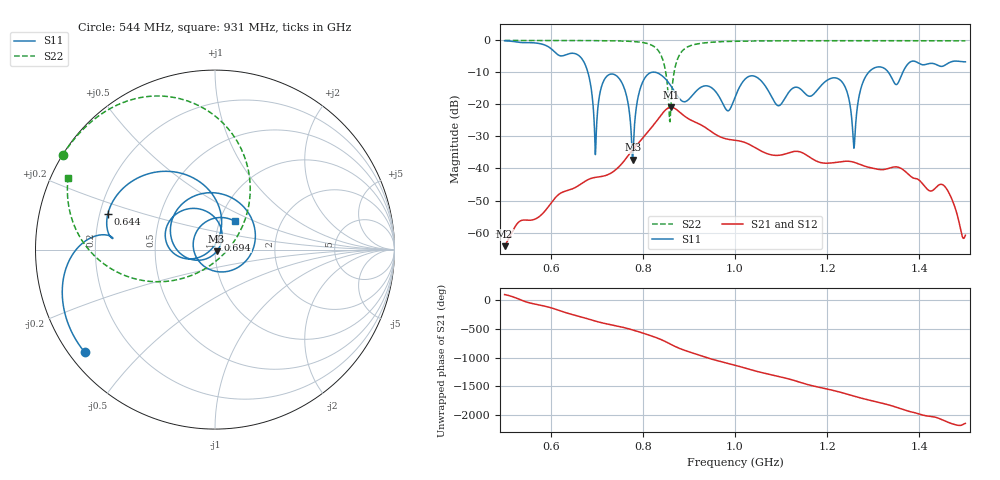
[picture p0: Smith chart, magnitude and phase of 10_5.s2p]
! TOUCHSTONE file generated by CST MICROWAVE STUDIO
! Date and time: Mon Nov 30 08:39:03 2020
! Project name: Scenario_1_Planar_Body_Tissue_Out_of_Line.cst
! Parameters = {dy1=-190.3; L_HA=400; Ltissue=700; MT=2.54; Rad_Dielectric=30; Rad_Lower=7.3; Rad_Upper=30; Wtissue=700; a_HA=580; a_WG=246; b_HA=500; b_WG=121; c_HA=0; c_WG=187; d_feed=85; dx1=866; h_feed=15; h_lower=18; h_upper=40; hfat=3; hgap=25; hmuscle=50; hskin=1.5}
! Header version: 2018
! Port assignment regex: !\s*Touchstone port\s*([0-9]+)\s*=\s*(CST MWS port|CST DS port)\s*([0-9]+|Zmin|Zmax)\s*\(\"(.*)\"\)(\s*mode\s*([0-9]+))?.*
! Touchstone port assignment:
! Touchstone port 1 = CST MWS port 1 ("")
! Touchstone port 2 = CST MWS port 2 ("")
# GHz S DB R 50
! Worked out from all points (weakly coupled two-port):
!   1003 points, 500 MHz to 1.5 GHz, reference 50 ohm
!   highest |S21| = -20.86 dB at 861 MHz (marker M1); lowest = -64.3 dB at 500 MHz (marker M2)
!   lowest |S11| = -37.3 dB at 778 MHz (marker M3), VSWR 1.03, Z = 50.9 - j1.06 ohm
!   |S11| at or under -10 dB: 680.8 MHz to 818 MHz (137.2 MHz wide, 18.3 % of centre); 828.6 MHz to 1.29 GHz (461.2 MHz wide, 43.5 % of centre); 1.333 GHz to 1.364 GHz (30.89 MHz wide, 2.29 % of centre)
!   |S22| runs from -25.4 to 0.0 dB; largest |S21 - S12| = 2.1e-05
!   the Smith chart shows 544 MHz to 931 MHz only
!   S11 on the Smith chart (normalised r, x): 544 MHz: 0.04, -0.35; 644 MHz: 0.23, +0.15; 694 MHz: 1.03, +0.12; 931 MHz: 1.18, +0.39
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0.5  -0.11 -122.1  -64.27 99.0  -64.26 99.0  -0.01 151.1
0.544  -0.68 -141.7  -56.10 -22.0  -56.10 -21.9  -0.01 148.2
0.644  -4.03 161.8  -46.54 117.0  -46.54 117.0  -0.03 140.5
0.667  -5.58 124.1  -44.72 67.2  -44.72 67.2  -0.04 138.4
0.694  -24.55 73.5  -42.85 2.6  -42.85 2.6  -0.06 135.6
0.738  -10.64 138.0  -40.74 -80.1  -40.74 -80.1  -0.13 129.6
0.778  -37.29 -49.8  -34.21 -158.3  -34.21 -158.3  -0.33 121.0
0.798  -13.53 -179.1  -30.72 152.5  -30.72 152.5  -0.61 113.8
0.834  -10.31 74.2  -24.39 52.6  -24.39 52.6  -3.27 84.6
0.861  -14.21 -11.6  -20.86 -49.9  -20.86 -49.9  -19.97 -110.5
0.88  -18.28 -87.1  -22.41 -121.1  -22.41 -121.1  -4.40 -170.8
0.931  -14.31 55.2  -26.77 98.8  -26.77 98.8  -0.81 154.1
1  -17.75 109.1  -31.19 -53.0  -31.19 -53.0  -0.27 140.3
1.034  -11.08 -5.9  -32.71 -131.6  -32.71 -131.6  -0.19 136.2
1.093  -20.37 150.7  -35.90 115.0  -35.90 115.0  -0.13 130.3
1.167  -17.22 170.0  -36.93 -49.5  -36.93 -49.5  -0.09 124.2
1.228  -12.34 4.4  -37.92 -162.5  -37.92 -162.5  -0.09 119.6
1.258  -33.66 17.0  -38.05 128.6  -38.05 128.6  -0.08 117.3
1.284  -11.17 53.1  -39.39 73.0  -39.39 73.0  -0.09 115.3
1.334  -10.18 -16.1  -39.92 -25.4  -39.92 -25.4  -0.08 111.5
1.454  -7.86 -30.3  -45.41 60.5  -45.41 60.5  -0.11 102.0
1.5  -6.68 -45.0  -60.85 12.5  -60.85 12.5  -0.13 98.0
